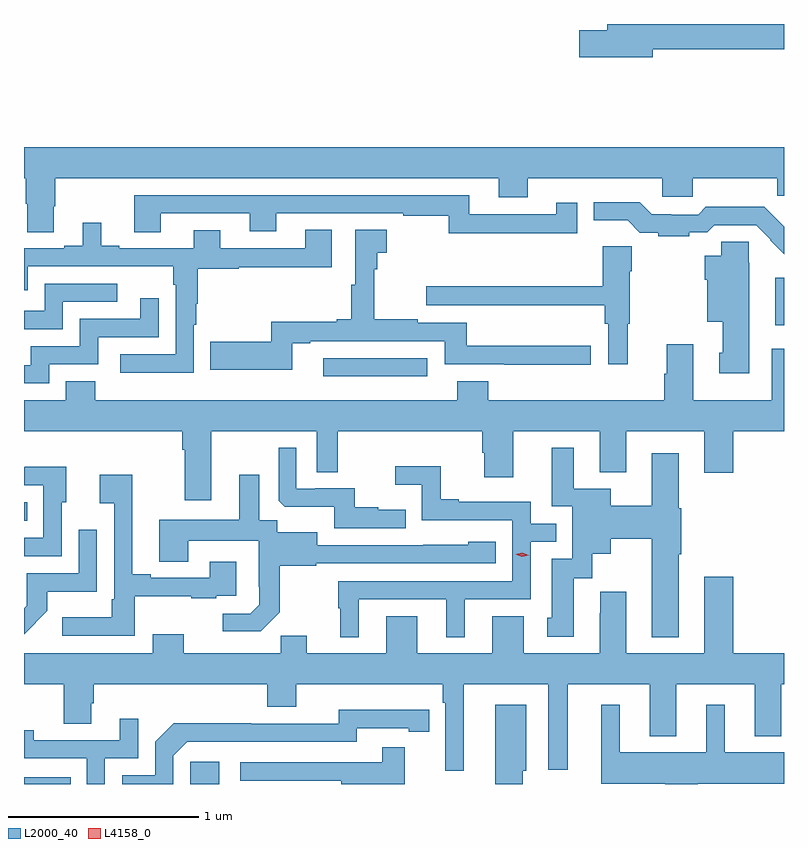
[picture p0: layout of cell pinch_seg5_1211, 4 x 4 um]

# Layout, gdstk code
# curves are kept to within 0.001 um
import gdstk
lib = gdstk.Library(unit=1e-6, precision=1e-09)
def R(c, l, rs):  # rectangles x0, y0, x1, y1
    for r in rs: c.add(gdstk.rectangle(r[:2], r[2:], *l))
def P(c, l, *ps):  # polygons
    for p in ps: c.add(gdstk.Polygon(p, *l))
L2000_40 = (2000, 40)
L4158_0 = (4158, 0)

pinch_seg5_1211 = lib.new_cell('pinch_seg5_1211')
R(pinch_seg5_1211, L2000_40, [(445.464,902.856,445.709,902.892), (446.34,902.856,446.491,902.974), (445.464,904.242,445.481,904.338), (447.039,905.001,447.586,905.097), (449.417,905.27,449.464,905.521)])
P(pinch_seg5_1211, L2000_40, [(448.774,906.724),(449.464,906.724),(449.464,906.856),(448.535,906.856),(448.535,906.824),(448.386,906.824),(448.386,906.682),(448.774,906.682)],
  [(445.621,905.896),(445.629,905.896),(445.629,906.044),(447.962,906.044),(447.962,905.945),(448.115,905.945),(448.115,906.044),(448.824,906.044),(448.824,905.946),(448.983,905.946),(448.983,906.044),(449.428,906.044),(449.428,905.951),(449.464,905.951),(449.464,906.208),(445.464,906.208),(445.464,906.044),(445.474,906.044),(445.474,905.909),(445.481,905.909),(445.481,905.761),(445.621,905.761)],
  [(448.377,905.914),(448.265,905.914),(448.265,905.856),(447.808,905.856),(447.808,905.955),(446.045,905.955),(446.045,905.761),(446.185,905.761),(446.185,905.859),(446.651,905.859),(446.651,905.765),(446.791,905.765),(446.791,905.859),(447.46,905.859),(447.46,905.847),(447.699,905.847),(447.699,905.755),(448.377,905.755)],
  [(449.464,905.789),(449.36,905.893),(449.053,905.893),(449.013,905.853),(448.871,905.853),(448.871,905.856),(448.767,905.856),(448.704,905.919),(448.462,905.919),(448.462,905.822),(448.642,905.822),(448.706,905.758),(448.801,905.758),(448.801,905.738),(448.964,905.738),(448.964,905.759),(449.06,905.759),(449.097,905.796),(449.319,905.796),(449.394,905.721),(449.391,905.718),(449.464,905.645)],
  [(446.358,905.272),(446.371,905.272),(446.371,905.383),(446.378,905.383),(446.378,905.568),(446.593,905.568),(446.593,905.575),(447.085,905.575),(447.085,905.774),(446.945,905.774),(446.945,905.676),(446.497,905.676),(446.497,905.77),(446.357,905.77),(446.357,905.676),(445.966,905.676),(445.966,905.689),(445.87,905.689),(445.87,905.809),(445.772,905.809),(445.772,905.689),(445.676,905.689),(445.676,905.676),(445.464,905.676),(445.464,905.454),(445.483,905.454),(445.483,905.58),(446.25,905.58),(446.25,905.483),(446.262,905.483),(446.262,905.118),(445.971,905.118),(445.971,905.021),(446.358,905.021)],
  [(446.875,905.175),(446.971,905.175),(446.971,905.187),(447.678,905.187),(447.678,905.064),(447.991,905.064),(447.991,905.063),(448.447,905.063),(448.447,905.162),(447.794,905.162),(447.794,905.283),(447.536,905.283),(447.536,905.303),(447.308,905.303),(447.308,905.564),(447.323,905.564),(447.323,905.653),(447.373,905.653),(447.373,905.773),(447.207,905.773),(447.207,905.483),(447.187,905.483),(447.187,905.303),(447.11,905.303),(447.11,905.288),(446.766,905.288),(446.766,905.184),(446.443,905.184),(446.443,905.036),(446.875,905.036)],
  [(449.281,905.6),(449.279,905.6),(449.279,905.711),(449.134,905.711),(449.134,905.635),(449.048,905.635),(449.048,905.511),(449.06,905.511),(449.06,905.288),(449.141,905.288),(449.141,905.127),(449.123,905.127),(449.123,905.019),(449.281,905.019)],
  [(448.642,905.279),(448.652,905.279),(448.652,905.556),(448.662,905.556),(448.662,905.686),(448.511,905.686),(448.511,905.477),(447.582,905.477),(447.582,905.376),(447.871,905.376),(447.871,905.375),(448.521,905.375),(448.521,905.279),(448.538,905.279),(448.538,905.064),(448.642,905.064)],
  [(445.668,905.394),(445.954,905.394),(445.954,905.49),(445.572,905.49),(445.572,905.346),(445.464,905.346),(445.464,905.25),(445.668,905.25)],
  [(445.596,905.064),(445.854,905.064),(445.854,905.208),(446.172,905.208),(446.172,905.413),(446.076,905.413),(446.076,905.304),(445.758,905.304),(445.758,905.16),(445.5,905.16),(445.5,905.061),(445.464,905.061),(445.464,904.965),(445.596,904.965)],
  [(446.449,904.712),(447.006,904.712),(447.006,904.498),(447.115,904.498),(447.115,904.712),(447.875,904.712),(447.875,904.599),(447.887,904.599),(447.887,904.47),(448.039,904.47),(448.039,904.712),(448.493,904.712),(448.493,904.496),(448.633,904.496),(448.633,904.712),(449.045,904.712),(449.045,904.494),(449.198,904.494),(449.198,904.712),(449.464,904.712),(449.464,905.146),(449.399,905.146),(449.399,904.876),(448.987,904.876),(448.987,905.17),(448.847,905.17),(448.847,905.015),(448.835,905.015),(448.835,904.876),(447.908,904.876),(447.908,904.975),(447.743,904.975),(447.743,904.876),(445.838,904.876),(445.838,904.975),(445.685,904.975),(445.685,904.876),(445.464,904.876),(445.464,904.712),(446.297,904.712),(446.297,904.616),(446.309,904.616),(446.309,904.35),(446.449,904.35)],
  [(448.909,904.064),(448.922,904.064),(448.922,904.308),(448.909,904.308),(448.909,904.597),(448.769,904.597),(448.769,904.32),(448.552,904.32),(448.552,904.411),(448.357,904.411),(448.357,904.627),(448.241,904.627),(448.241,904.317),(448.35,904.317),(448.35,904.041),(448.241,904.041),(448.241,903.732),(448.217,903.732),(448.217,903.63),(448.357,903.63),(448.357,903.938),(448.455,903.938),(448.455,904.067),(448.552,904.067),(448.552,904.148),(448.769,904.148),(448.769,903.629),(448.909,903.629)],
  [(447.473,904.3),(447.329,904.3),(447.329,904.312),(447.206,904.312),(447.206,904.413),(446.998,904.413),(446.998,904.41),(446.898,904.41),(446.898,904.627),(446.805,904.627),(446.805,904.347),(446.837,904.316),(447.096,904.316),(447.096,904.203),(447.473,904.203)],
  [(447.226,903.828),(447.686,903.828),(447.686,903.629),(447.784,903.629),(447.784,903.828),(448.131,903.828),(448.131,904.131),(448.264,904.131),(448.264,904.227),(448.131,904.227),(448.131,904.341),(447.751,904.341),(447.751,904.354),(447.657,904.354),(447.657,904.529),(447.417,904.529),(447.417,904.43),(447.558,904.43),(447.558,904.245),(448.035,904.245),(448.035,903.924),(447.117,903.924),(447.117,903.78),(447.128,903.78),(447.128,903.629),(447.226,903.629)],
  [(445.662,904.338),(445.687,904.338),(445.687,904.526),(445.469,904.526),(445.469,904.524),(445.464,904.524),(445.464,904.428),(445.566,904.428),(445.566,904.152),(445.464,904.152),(445.464,904.056),(445.662,904.056)],
  [(446.047,903.845),(446.345,903.845),(446.345,903.834),(446.477,903.834),(446.477,903.846),(446.581,903.846),(446.581,904.027),(446.441,904.027),(446.441,903.942),(446.131,903.942),(446.131,903.961),(446.035,903.961),(446.035,904.483),(445.863,904.483),(445.863,904.334),(445.938,904.334),(445.938,903.829),(445.926,903.829),(445.926,903.733),(445.665,903.733),(445.665,903.636),(446.047,903.636)],
  [(446.811,903.759),(446.811,904.005),(447.003,904.005),(447.003,904.017),(447.946,904.017),(447.946,904.132),(447.801,904.132),(447.801,904.114),(447.007,904.113),(447.007,904.18),(446.796,904.18),(446.796,904.244),(446.701,904.244),(446.701,904.483),(446.597,904.483),(446.597,904.246),(446.177,904.246),(446.177,904.027),(446.329,904.027),(446.329,904.136),(446.7,904.136),(446.7,903.895),(446.702,903.895),(446.702,903.8),(446.655,903.753),(446.511,903.753),(446.511,903.659),(446.711,903.659)],
  [(445.587,903.767),(445.587,903.869),(445.848,903.869),(445.848,904.195),(445.752,904.195),(445.752,903.966),(445.479,903.966),(445.479,903.795),(445.464,903.78),(445.464,903.644)],
  [(447.778,903.38),(448.223,903.38),(448.223,902.931),(448.327,902.931),(448.327,903.38),(448.757,903.38),(448.757,903.107),(448.897,903.107),(448.897,903.38),(449.309,903.38),(449.309,903.107),(449.449,903.107),(449.449,903.38),(449.464,903.38),(449.464,903.544),(449.198,903.544),(449.198,903.946),(449.045,903.946),(449.045,903.544),(448.633,903.544),(448.633,903.868),(448.496,903.868),(448.496,903.755),(448.493,903.755),(448.493,903.544),(448.093,903.544),(448.093,903.739),(447.929,903.739),(447.929,903.544),(447.535,903.544),(447.535,903.739),(447.371,903.739),(447.371,903.544),(446.953,903.544),(446.953,903.635),(446.815,903.635),(446.815,903.544),(446.305,903.544),(446.305,903.643),(446.141,903.643),(446.141,903.544),(445.464,903.544),(445.464,903.38),(445.672,903.38),(445.672,903.172),(445.819,903.172),(445.819,903.282),(445.832,903.282),(445.832,903.38),(446.744,903.38),(446.744,903.263),(446.896,903.263),(446.896,903.38),(447.668,903.38),(447.668,903.284),(447.681,903.284),(447.681,902.925),(447.778,902.925)],
  [(449.009,902.858),(449.464,902.858),(449.464,903.022),(449.152,903.022),(449.152,903.274),(449.054,903.274),(449.054,903.022),(448.6,903.022),(448.6,903.274),(448.502,903.274),(448.502,902.858),(448.838,902.858),(448.838,902.856),(449.009,902.856)],
  [(448.09,902.925),(448.108,902.925),(448.108,903.274),(447.944,903.274),(447.944,902.856),(448.09,902.856)],
  [(446.25,903.006),(446.322,903.078),(447.216,903.078),(447.216,903.15),(447.488,903.15),(447.488,903.13),(447.596,903.13),(447.596,903.246),(447.12,903.247),(447.12,903.174),(446.66,903.174),(446.66,903.176),(446.252,903.176),(446.154,903.078),(446.154,902.901),(445.98,902.901),(445.98,902.856),(446.25,902.856)],
  [(445.89,902.991),(446.064,902.991),(446.064,903.199),(445.967,903.199),(445.967,903.087),(445.516,903.087),(445.516,903.139),(445.464,903.139),(445.464,902.991),(445.794,902.991),(445.794,902.856),(445.89,902.856)],
  [(447.467,903.049),(447.349,903.049),(447.349,902.97),(446.601,902.97),(446.601,902.874),(447.133,902.874),(447.133,902.856),(447.467,902.856)])
P(pinch_seg5_1211, L4158_0, [(448.084,904.052),(448.051,904.065),(448.051,904.065),(448.051,904.065),(448.086,904.072),(448.12,904.06),(448.12,904.06),(448.12,904.059)])

lib.write_gds('pinch_seg5_1211.gds')
